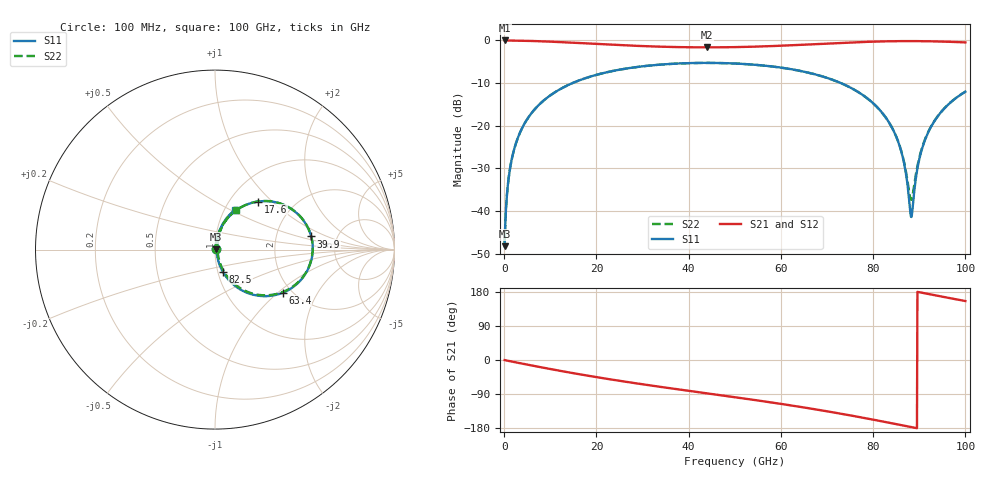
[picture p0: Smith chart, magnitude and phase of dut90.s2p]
! Touchstone file exported from HFSS 2026.1.0
!  File:  C:/ffzhzh/LocalFiles/Ansys_Project_Files/temp_train_RDL_90_1783498942_44152.aedt
!  Generated:  04:23:50 PM Jul  8, 2026
!  Design:  RDL
!  Project:  temp_train_RDL_90_1783498942_44152
! Variables:
!  h_bsmrdl = 2um
!  h_ox = 20um
!  h_rdl = 5um
!  h_sub = 80um
!  h_tmrdl = 3.67um
!  h_tsv = 80um
!  h_via = 3um
!  l_bsmrdl = 300um
!  l_sub = 1067.28um
!  l_tmrdl = 667.28um
!  m_sub = 200um
!  pitch = 53.82um
!  r_tsv = 6um
!  s_tmrdl = 10um
!  w_bsmrdl = 18um
!  w_sub = 500um
!  w_tmrdl = 24.94um
!  x_tsv_center1 = 679.75um
!  x_tsv_center2 = 997.75um
!  x_tsv_center3 = 1689.97um
!  x_tsv_center4 = 2007.97um
!  x_tsv_center5 = 2700.19um
!  x_tsv_center6 = 3018.19um
# GHz S MA R 50.000000
! Terminal data exported
! Port[1] = TM_RDL1_1_T1
! Port[2] = TM_RDL1_1_T2
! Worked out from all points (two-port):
!   1000 points, 100 MHz to 100 GHz, reference 50 ohm
!   highest |S21| = -0.02 dB at 100 MHz (marker M1); lowest = -1.6 dB at 44 GHz (marker M2)
!   |S21| within 3 dB of the highest: start of sweep to end of sweep
!   lowest |S11| = -48.2 dB at 100 MHz (marker M3), VSWR 1.01, Z = 50.3 + j0.271 ohm
!   |S11| at or under -10 dB: start of sweep to 14.84 GHz; 72.99 GHz to end of sweep
!   |S22| runs from -48.2 to -5.3 dB; largest |S21 - S12| = 1.7e-14
!   S11 on the Smith chart (normalised r, x): 100 MHz: 1.01, +0.01; 17.6 GHz: 1.34, +0.83; 39.9 GHz: 3.20, +0.67; 63.4 GHz: 1.80, -1.08; 82.5 GHz: 1.06, -0.26; 100 GHz: 1.12, +0.53
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0.1  0.003884 43.9  0.9972 -0.3  0.9972 -0.3  0.003884 43.9
! Gamma 0 0 0 0
! Port Impedance 50 0 50 0
0.8  0.02018 77.9  0.9963 -2.0  0.9963 -2.0  0.02018 77.9
1.4  0.03455 80.2  0.9956 -3.5  0.9956 -3.5  0.03455 80.3
4  0.09631 77.2  0.9903 -9.8  0.9903 -9.8  0.09631 77.2
9  0.2064 66.2  0.9705 -21.5  0.9705 -21.5  0.2063 66.3
16.8  0.3481 49.6  0.9271 -38.6  0.9271 -38.6  0.348 49.8
17.6  0.3603 48.0  0.9223 -40.3  0.9223 -40.3  0.3602 48.2
33.4  0.5174 18.7  0.8446 -70.1  0.8446 -70.1  0.5172 19.0
39.9  0.5408 7.8  0.8302 -81.2  0.8302 -81.2  0.5405 8.2
44  0.5447 1.0  0.8276 -88.0  0.8276 -88.0  0.5444 1.4
50.1  0.5355 -9.1  0.8334 -98.3  0.8334 -98.3  0.5351 -8.6
63.4  0.4474 -32.5  0.8814 -122.2  0.8814 -122.2  0.447 -31.7
66.7  0.4092 -38.8  0.8988 -128.6  0.8988 -128.6  0.4088 -37.9
76.2  0.2589 -58.0  0.9495 -148.8  0.9495 -148.8  0.2585 -56.7
82.5  0.1299 -70.5  0.9732 -163.3  0.9732 -163.3  0.1298 -68.0
83.4  0.1101 -72.0  0.9753 -165.4  0.9753 -165.4  0.1101 -69.0
86.2  0.04769 -72.7  0.9794 -172.0  0.9794 -172.0  0.04838 -66.4
88.3  0.008534 7.9  0.98 -177.1  0.98 -177.1  0.01363 8.1
90  0.04042 75.9  0.9788 178.9  0.9788 178.9  0.04221 69.7
91.9  0.0827 77.6  0.9758 174.3  0.9758 174.3  0.08379 74.6
95.3  0.1565 72.5  0.9663 166.3  0.9663 166.3  0.1572 71.1
100  0.2503 63.0  0.9463 155.6  0.9463 155.6  0.2508 62.4
